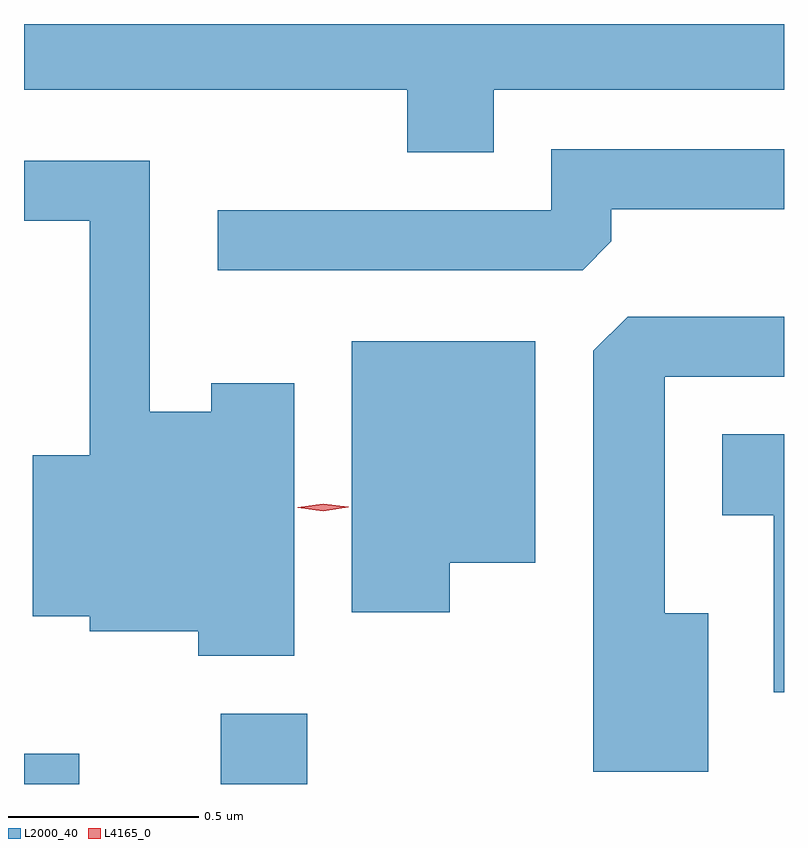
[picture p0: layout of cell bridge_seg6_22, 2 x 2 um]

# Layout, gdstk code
import gdstk
lib = gdstk.Library(unit=1e-6, precision=1e-09)
def R(c, l, rs):  # rectangles x0, y0, x1, y1
    for r in rs: c.add(gdstk.rectangle(r[:2], r[2:], *l))
def P(c, l, *ps):  # polygons
    for p in ps: c.add(gdstk.Polygon(p, *l))
L2000_40 = (2000, 40)
L4165_0 = (4165, 0)

bridge_seg6_22 = lib.new_cell('bridge_seg6_22')
R(bridge_seg6_22, L2000_40, [(1796.923,1639.229,1797.069,1639.309), (1797.441,1639.229,1797.669,1639.414)])
P(bridge_seg6_22, L2000_40, [(1798.159,1641.056),(1798.923,1641.056),(1798.923,1641.229),(1796.923,1641.229),(1796.923,1641.056),(1797.931,1641.056),(1797.931,1640.891),(1798.159,1640.891)],
  [(1798.469,1640.657),(1798.469,1640.741),(1798.923,1640.741),(1798.923,1640.899),(1798.311,1640.899),(1798.311,1640.739),(1797.433,1640.739),(1797.433,1640.581),(1798.394,1640.581)],
  [(1797.634,1640.284),(1797.416,1640.284),(1797.416,1640.209),(1797.254,1640.209),(1797.254,1640.869),(1796.923,1640.869),(1796.923,1640.711),(1797.096,1640.711),(1797.096,1640.094),(1796.946,1640.094),(1796.946,1639.671),(1797.096,1639.671),(1797.096,1639.631),(1797.381,1639.631),(1797.381,1639.566),(1797.634,1639.566)],
  [(1798.724,1639.679),(1798.609,1639.679),(1798.609,1640.301),(1798.923,1640.301),(1798.923,1640.459),(1798.512,1640.459),(1798.421,1640.369),(1798.421,1639.261),(1798.724,1639.261)],
  [(1798.044,1639.811),(1798.269,1639.811),(1798.269,1640.394),(1797.786,1640.394),(1797.786,1639.681),(1798.044,1639.681)],
  [(1798.923,1640.149),(1798.761,1640.149),(1798.761,1639.936),(1798.896,1639.936),(1798.896,1639.471),(1798.923,1639.471)])
P(bridge_seg6_22, L4165_0, [(1797.71,1639.947),(1797.644,1639.956),(1797.644,1639.957),(1797.644,1639.957),(1797.71,1639.967),(1797.776,1639.958),(1797.777,1639.958),(1797.776,1639.957)])

lib.write_gds('bridge_seg6_22.gds')
